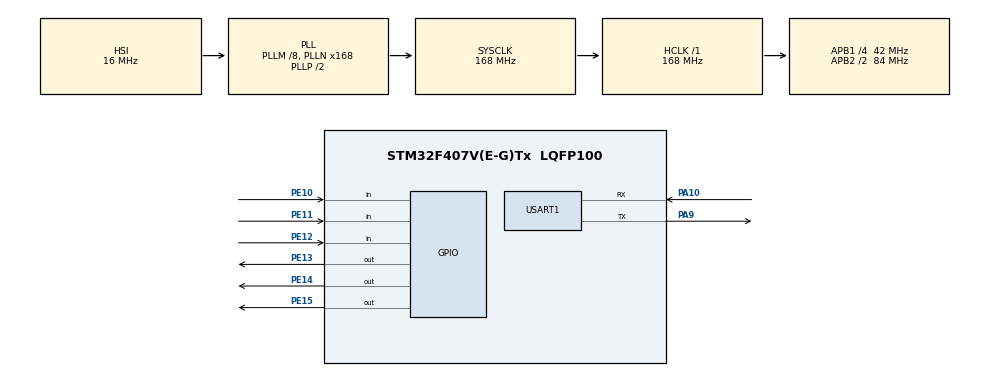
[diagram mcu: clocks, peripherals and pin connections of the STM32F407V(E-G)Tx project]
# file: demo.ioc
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Dma.Request0=USART1_RX
Dma.Request1=USART1_TX
Dma.USART1_RX.0.Direction=DMA_PERIPH_TO_MEMORY
Dma.USART1_RX.0.FIFOMode=DMA_FIFOMODE_DISABLE
Dma.USART1_RX.0.Instance=DMA2_Stream2
Dma.USART1_RX.0.MemDataAlignment=DMA_MDATAALIGN_BYTE
Dma.USART1_RX.0.MemInc=DMA_MINC_ENABLE
Dma.USART1_RX.0.Mode=DMA_CIRCULAR
Dma.USART1_RX.0.PeriphDataAlignment=DMA_PDATAALIGN_BYTE
Dma.USART1_RX.0.PeriphInc=DMA_PINC_DISABLE
Dma.USART1_RX.0.Priority=DMA_PRIORITY_LOW
Dma.USART1_TX.1.Direction=DMA_MEMORY_TO_PERIPH
Dma.USART1_TX.1.FIFOMode=DMA_FIFOMODE_DISABLE
Dma.USART1_TX.1.Instance=DMA2_Stream7
Dma.USART1_TX.1.MemDataAlignment=DMA_MDATAALIGN_BYTE
Dma.USART1_TX.1.MemInc=DMA_MINC_ENABLE
Dma.USART1_TX.1.Mode=DMA_NORMAL
Dma.USART1_TX.1.PeriphDataAlignment=DMA_PDATAALIGN_BYTE
Dma.USART1_TX.1.PeriphInc=DMA_PINC_DISABLE
Dma.USART1_TX.1.Priority=DMA_PRIORITY_LOW
Mcu.Family=STM32F4
Mcu.Name=STM32F407V(E-G)Tx
Mcu.Package=LQFP100
NVIC.DMA2_Stream2_IRQn=true\:0\:0\:false\:false\:true\:false\:true\:true
NVIC.DMA2_Stream7_IRQn=true\:0\:0\:false\:false\:true\:false\:true\:true
NVIC.PriorityGroup=NVIC_PRIORITYGROUP_4
NVIC.USART1_IRQn=true\:0\:0\:false\:false\:true\:true\:true\:true
PA10.Mode=Asynchronous
PA10.Signal=USART1_RX
PA13.Mode=Serial_Wire
PA13.Signal=SYS_JTMS-SWDIO
PA14.Mode=Serial_Wire
PA14.Signal=SYS_JTCK-SWCLK
PA9.Mode=Asynchronous
PA9.Signal=USART1_TX
PE10.Signal=GPIO_Input
PE11.Signal=GPIO_Input
PE12.Signal=GPIO_Input
PE13.Signal=GPIO_Output
PE14.Signal=GPIO_Output
PE15.Signal=GPIO_Output
PH0-OSC_IN.Mode=HSE-External-Oscillator
PH0-OSC_IN.Signal=RCC_OSC_IN
PH1-OSC_OUT.Mode=HSE-External-Oscillator
PH1-OSC_OUT.Signal=RCC_OSC_OUT
ProjectManager.HeapSize=0x2000
ProjectManager.StackSize=0x2000
ProjectManager.TargetToolchain=MDK-ARM V5
RCC.48MHZClocksFreq_Value=84000000
RCC.AHBFreq_Value=168000000
RCC.APB1CLKDivider=RCC_HCLK_DIV4
RCC.APB1Freq_Value=42000000
RCC.APB1TimFreq_Value=84000000
RCC.APB2CLKDivider=RCC_HCLK_DIV2
RCC.APB2Freq_Value=84000000
RCC.APB2TimFreq_Value=168000000
RCC.CortexFreq_Value=168000000
RCC.HCLKFreq_Value=168000000
RCC.HSE_VALUE=25000000
RCC.HSI_VALUE=16000000
RCC.LSE_VALUE=32768
RCC.PLLM=8
RCC.PLLN=168
RCC.SYSCLKFreq_VALUE=168000000
RCC.SYSCLKSource=RCC_SYSCLKSOURCE_PLLCLK
RCC.VCOOutputFreq_Value=336000000
USART1.VirtualMode=VM_ASYNC
board=custom

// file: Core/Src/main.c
/* USER CODE BEGIN Header */
/**
 ******************************************************************************
 * @file           : main.c
 * @brief          : Main program body
 ******************************************************************************
 * @attention
 *
 * Copyright (c) 2023 STMicroelectronics.
 * All rights reserved.
 *
 * This software is licensed under terms that can be found in the LICENSE file
 * in the root directory of this software component.
 * If no LICENSE file comes with this software, it is provided AS-IS.
 *
 ******************************************************************************
 */
/* USER CODE END Header */
#include "main.h"

/* USER CODE BEGIN Includes */
#include <stdio.h>
/* USER CODE END Includes */

/* USER CODE BEGIN PD */
#define DBGUART_HANDLE huart1
/* USER CODE END PD */

TIM_HandleTypeDef htim11;

UART_HandleTypeDef huart1;
DMA_HandleTypeDef hdma_usart1_rx;
DMA_HandleTypeDef hdma_usart1_tx;

void SystemClock_Config(void);
static void MX_GPIO_Init(void);
static void MX_DMA_Init(void);
static void MX_USART1_UART_Init(void);
/* USER CODE BEGIN PFP */
extern int  ukal_test(void);
extern int  ulapack_test(void);
/* USER CODE END PFP */

int main(void)
{

  /* MCU Configuration--------------------------------------------------------*/

  /* Reset of all peripherals, Initializes the Flash interface and the Systick. */
  HAL_Init();

  /* Configure the system clock */
  SystemClock_Config();

  /* USER CODE BEGIN SysInit */
    __HAL_RCC_GPIOA_CLK_ENABLE();
    __HAL_RCC_GPIOB_CLK_ENABLE();
    __HAL_RCC_GPIOC_CLK_ENABLE();
    __HAL_RCC_GPIOD_CLK_ENABLE();
    __HAL_RCC_GPIOE_CLK_ENABLE();
  /* USER CODE END SysInit */

  /* Initialize all configured peripherals */
  MX_GPIO_Init();
  MX_DMA_Init();
  MX_USART1_UART_Init();
  /* USER CODE BEGIN 2 */

    ulapack_test();
    ukal_test();  // AC5: o0/o1 ok, o2/o3 err

  /* USER CODE END 2 */

  /* Infinite loop */
    while (1)
    {

    }
}

void SystemClock_Config(void)
{
  RCC_OscInitTypeDef RCC_OscInitStruct = {0};
  RCC_ClkInitTypeDef RCC_ClkInitStruct = {0};

  /** Configure the main internal regulator output voltage
  */
  __HAL_RCC_PWR_CLK_ENABLE();
  __HAL_PWR_VOLTAGESCALING_CONFIG(PWR_REGULATOR_VOLTAGE_SCALE1);

  /** Initializes the RCC Oscillators according to the specified parameters
  * in the RCC_OscInitTypeDef structure.
  */
  RCC_OscInitStruct.OscillatorType = RCC_OSCILLATORTYPE_HSI;
  RCC_OscInitStruct.HSIState = RCC_HSI_ON;
  RCC_OscInitStruct.HSICalibrationValue = RCC_HSICALIBRATION_DEFAULT;
  RCC_OscInitStruct.PLL.PLLState = RCC_PLL_ON;
  RCC_OscInitStruct.PLL.PLLSource = RCC_PLLSOURCE_HSI;
  RCC_OscInitStruct.PLL.PLLM = 8;
  RCC_OscInitStruct.PLL.PLLN = 168;
  RCC_OscInitStruct.PLL.PLLP = RCC_PLLP_DIV2;
  RCC_OscInitStruct.PLL.PLLQ = 4;
  if (HAL_RCC_OscConfig(&RCC_OscInitStruct) != HAL_OK)
  {
    Error_Handler();
  }

  /** Initializes the CPU, AHB and APB buses clocks
  */
  RCC_ClkInitStruct.ClockType = RCC_CLOCKTYPE_HCLK|RCC_CLOCKTYPE_SYSCLK
                              |RCC_CLOCKTYPE_PCLK1|RCC_CLOCKTYPE_PCLK2;
  RCC_ClkInitStruct.SYSCLKSource = RCC_SYSCLKSOURCE_PLLCLK;
  RCC_ClkInitStruct.AHBCLKDivider = RCC_SYSCLK_DIV1;
  RCC_ClkInitStruct.APB1CLKDivider = RCC_HCLK_DIV4;
  RCC_ClkInitStruct.APB2CLKDivider = RCC_HCLK_DIV2;

  if (HAL_RCC_ClockConfig(&RCC_ClkInitStruct, FLASH_LATENCY_5) != HAL_OK)
  {
    Error_Handler();
  }
}

static void MX_USART1_UART_Init(void)
{

  huart1.Instance = USART1;
  huart1.Init.BaudRate = 115200;
  huart1.Init.WordLength = UART_WORDLENGTH_8B;
  huart1.Init.StopBits = UART_STOPBITS_1;
  huart1.Init.Parity = UART_PARITY_NONE;
  huart1.Init.Mode = UART_MODE_TX_RX;
  huart1.Init.HwFlowCtl = UART_HWCONTROL_NONE;
  huart1.Init.OverSampling = UART_OVERSAMPLING_16;
  if (HAL_UART_Init(&huart1) != HAL_OK)
  {
    Error_Handler();
  }

}

static void MX_DMA_Init(void)
{

  /* DMA controller clock enable */
  __HAL_RCC_DMA2_CLK_ENABLE();

  /* DMA interrupt init */
  /* DMA2_Stream2_IRQn interrupt configuration */
  HAL_NVIC_SetPriority(DMA2_Stream2_IRQn, 0, 0);
  HAL_NVIC_EnableIRQ(DMA2_Stream2_IRQn);
  /* DMA2_Stream7_IRQn interrupt configuration */
  HAL_NVIC_SetPriority(DMA2_Stream7_IRQn, 0, 0);
  HAL_NVIC_EnableIRQ(DMA2_Stream7_IRQn);

}

static void MX_GPIO_Init(void)
{
  GPIO_InitTypeDef GPIO_InitStruct = {0};

  /* GPIO Ports Clock Enable */
  __HAL_RCC_GPIOH_CLK_ENABLE();
  __HAL_RCC_GPIOE_CLK_ENABLE();
  __HAL_RCC_GPIOA_CLK_ENABLE();

  /*Configure GPIO pin Output Level */
  HAL_GPIO_WritePin(GPIOE, GPIO_PIN_13|GPIO_PIN_14|GPIO_PIN_15, GPIO_PIN_RESET);

  /*Configure GPIO pins : PE10 PE11 PE12 */
  GPIO_InitStruct.Pin = GPIO_PIN_10|GPIO_PIN_11|GPIO_PIN_12;
  GPIO_InitStruct.Mode = GPIO_MODE_INPUT;
  GPIO_InitStruct.Pull = GPIO_NOPULL;
  HAL_GPIO_Init(GPIOE, &GPIO_InitStruct);

  /*Configure GPIO pins : PE13 PE14 PE15 */
  GPIO_InitStruct.Pin = GPIO_PIN_13|GPIO_PIN_14|GPIO_PIN_15;
  GPIO_InitStruct.Mode = GPIO_MODE_OUTPUT_PP;
  GPIO_InitStruct.Pull = GPIO_NOPULL;
  GPIO_InitStruct.Speed = GPIO_SPEED_FREQ_LOW;
  HAL_GPIO_Init(GPIOE, &GPIO_InitStruct);

}

/* USER CODE BEGIN 4 */

int fputc(int ch, FILE* f)
{
    if (ch == '\n')
    {
        HAL_UART_Transmit(&DBGUART_HANDLE, (uint8_t*)"\r", 1, HAL_MAX_DELAY);
    }

    HAL_UART_Transmit(&DBGUART_HANDLE, (uint8_t*)&ch, 1, HAL_MAX_DELAY);

    return (ch);
}

int fgetc(FILE* f)
{
    uint8_t ch = '\0';
    HAL_UART_Receive(&DBGUART_HANDLE, &ch, 1, HAL_MAX_DELAY);
    return ch;
}

/* USER CODE END 4 */

void Error_Handler(void)
{
    __disable_irq();
    while (1)
    {
    }
}

#ifdef  USE_FULL_ASSERT
/**
  * @brief  Reports the name of the source file and the source line number
  *         where the assert_param error has occurred.
  * @param  file: pointer to the source file name
  * @param  line: assert_param error line source number
  * @retval None
  */
void assert_failed(uint8_t *file, uint32_t line)
{
  /* USER CODE BEGIN 6 */
    /* User can add his own implementation to report the file name and line number,
       ex: PRINTF("Wrong parameters value: file %s on line %d\r\n", file, line) */
  /* USER CODE END 6 */
}
#endif /* USE_FULL_ASSERT */
